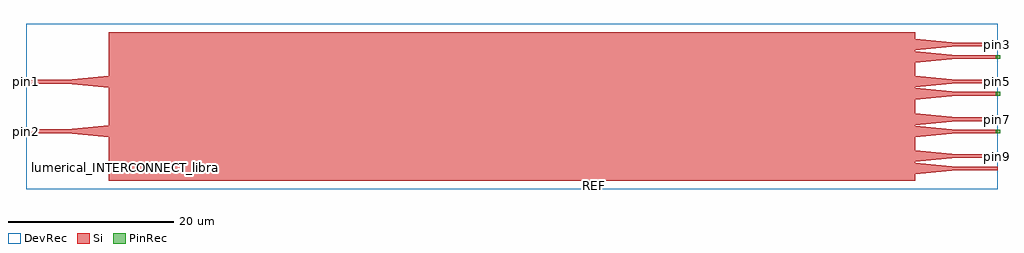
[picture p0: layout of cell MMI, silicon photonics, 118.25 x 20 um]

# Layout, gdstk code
import gdstk
lib = gdstk.Library(unit=1e-6, precision=1e-10)
def R(c, l, rs):  # rectangles x0, y0, x1, y1
    for r in rs: c.add(gdstk.rectangle(r[:2], r[2:], *l))
def P(c, l, *ps):  # polygons
    for p in ps: c.add(gdstk.Polygon(p, *l))
Si = (1, 0)
PinRec = (1, 10)
DevRec = (68, 0)

mmi = lib.new_cell('MMI')
R(mmi, Si, [(0,-9,97.75,9), (102.75,-7.725,107.75,-7.275), (102.75,-6.225,107.75,-5.775), (102.75,-3.2583,107.75,-2.8083), (-10,-3.225,-5,-2.775), (102.75,-1.7583,107.75,-1.3083), (102.75,1.3083,107.75,1.7583), (-10,2.775,-5,3.225), (102.75,2.8083,107.75,3.2583), (102.75,5.775,107.75,6.225), (102.75,7.275,107.75,7.725)])
P(mmi, Si, [(0,2.29),(-5,2.775),(-5,3.225),(0,3.71)],
  [(0,-3.71),(-5,-3.225),(-5,-2.775),(0,-2.29)],
  [(97.75,6.79),(97.75,8.21),(102.75,7.725),(102.75,7.275)],
  [(97.75,-8.21),(97.75,-6.79),(102.75,-7.275),(102.75,-7.725)],
  [(97.75,5.29),(97.75,6.71),(102.75,6.225),(102.75,5.775)],
  [(97.75,-6.71),(97.75,-5.29),(102.75,-5.775),(102.75,-6.225)],
  [(97.75,2.3233),(97.75,3.7433),(102.75,3.2583),(102.75,2.8083)],
  [(97.75,-3.7433),(97.75,-2.3233),(102.75,-2.8083),(102.75,-3.2583)],
  [(97.75,0.8233),(97.75,2.2433),(102.75,1.7583),(102.75,1.3083)],
  [(97.75,-2.2433),(97.75,-0.8233),(102.75,-1.3083),(102.75,-1.7583)])
R(mmi, DevRec, [(-10,-10,107.75,10)])
mmi.add(gdstk.FlexPath([(-9.75,3),(-10.25,3)], 0.45, ends="flush", simple_path=True, layer=1, datatype=10))  # PinRec
mmi.add(gdstk.FlexPath([(-9.75,-3),(-10.25,-3)], 0.45, ends="flush", simple_path=True, layer=1, datatype=10))  # PinRec
mmi.add(gdstk.FlexPath([(108,7.5),(107.5,7.5)], 0.45, ends="flush", simple_path=True, layer=1, datatype=10))  # PinRec
mmi.add(gdstk.FlexPath([(108,6),(107.5,6)], 0.45, ends="flush", simple_path=True, layer=1, datatype=10))  # PinRec
mmi.add(gdstk.FlexPath([(108,3.0333),(107.5,3.0333)], 0.45, ends="flush", simple_path=True, layer=1, datatype=10))  # PinRec
mmi.add(gdstk.FlexPath([(108,1.5333),(107.5,1.5333)], 0.45, ends="flush", simple_path=True, layer=1, datatype=10))  # PinRec
mmi.add(gdstk.FlexPath([(108,-1.5333),(107.5,-1.5333)], 0.45, ends="flush", simple_path=True, layer=1, datatype=10))  # PinRec
mmi.add(gdstk.FlexPath([(108,-3.0333),(107.5,-3.0333)], 0.45, ends="flush", simple_path=True, layer=1, datatype=10))  # PinRec
mmi.add(gdstk.FlexPath([(108,-6),(107.5,-6)], 0.45, ends="flush", simple_path=True, layer=1, datatype=10))  # PinRec
mmi.add(gdstk.FlexPath([(108,-6),(107.5,-6)], 0.45, ends="flush", simple_path=True, layer=1, datatype=10))  # PinRec
mmi.add(gdstk.Label('REF:  Y Zhang ', (12.04,-30.31), layer=10, texttype=0))
mmi.add(gdstk.Label('lumerical_INTERCONNECT_library=Custom/mmi', (2.07,-7.44), layer=68, texttype=0))
mmi.add(gdstk.Label('REF', (58.9,-9.59), layer=68, texttype=0))
mmi.add(gdstk.Label('REF', (50.65,-16.51), layer=68, texttype=0))
mmi.add(gdstk.Label('pin3', (107.75,7.5), layer=1, texttype=10))
mmi.add(gdstk.Label('pin4', (107.75,6), layer=1, texttype=10))
mmi.add(gdstk.Label('pin5', (107.75,3.0333), layer=1, texttype=10))
mmi.add(gdstk.Label('pin6', (107.75,1.5333), layer=1, texttype=10))
mmi.add(gdstk.Label('pin7', (107.75,-1.5333), layer=1, texttype=10))
mmi.add(gdstk.Label('pin8', (107.75,-3.0333), layer=1, texttype=10))
mmi.add(gdstk.Label('pin9', (107.75,-6), layer=1, texttype=10))
mmi.add(gdstk.Label('pin10', (107.75,-7.5), layer=1, texttype=10))
mmi.add(gdstk.Label('pin1', (-10,3), layer=1, texttype=10))
mmi.add(gdstk.Label('pin2', (-10,-3), layer=1, texttype=10))

lib.write_gds('MMI.gds')
